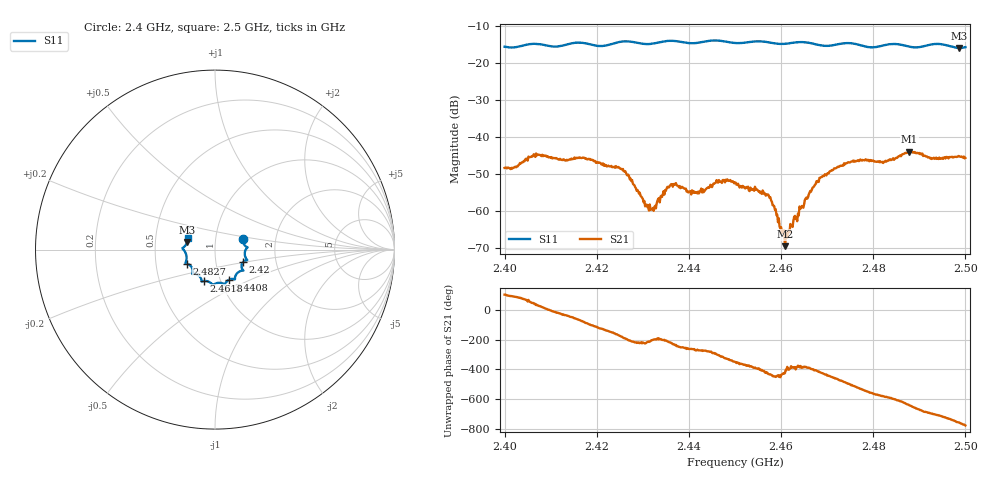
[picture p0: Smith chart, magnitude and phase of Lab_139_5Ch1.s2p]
# Hz S RI R 50
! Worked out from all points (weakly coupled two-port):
!   601 points, 2.4 GHz to 2.5 GHz, reference 50 ohm
!   highest |S21| = -44.02 dB at 2.4878 GHz (marker M1); lowest = -69.6 dB at 2.4608 GHz (marker M2)
!   lowest |S11| = -15.9 dB at 2.4987 GHz (marker M3), VSWR 1.38, Z = 36.5 + j3.23 ohm
!   |S11| at or under -10 dB: start of sweep to end of sweep
!   S12 and S22 are empty: the file has one direction only
!   S11 on the Smith chart (normalised r, x): 2.4 GHz: 1.35, +0.17; 2.42 GHz: 1.36, -0.19; 2.4408 GHz: 1.10, -0.38; 2.4618 GHz: 0.83, -0.30; 2.4827 GHz: 0.72, -0.12; 2.5 GHz: 0.73, +0.10
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2.4e9  0.1546 0.061  -0.000922 0.00368  0 0  0 0
2.406833e9  0.1815 0.0124  0.00495 0.0033  0 0  0 0
2.416667e9  0.1789 -0.0586  0.0014 -0.00496  0 0  0 0
2.42e9  0.1565 -0.069  -0.00181 -0.0042  0 0  0 0
2.425833e9  0.1578 -0.1165  -0.00339 0.00048  0 0  0 0
2.4315e9  0.1201 -0.1353  -0.00103 0.00064  0 0  0 0
2.433333e9  0.1117 -0.1529  -0.00137 0.000441  0 0  0 0
2.436667e9  0.1104 -0.166  -0.00148 0.00175  0 0  0 0
2.440833e9  0.0776 -0.1684  -0.000209 0.00183  0 0  0 0
2.446333e9  0.0517 -0.1947  0.00133 0.00199  0 0  0 0
2.45e9  0.0267 -0.1848  0.00237 0.000425  0 0  0 0
2.457333e9  -0.019 -0.1894  0.000484 -0.00152  0 0  0 0
2.460833e9  -0.0514 -0.1746  0.000134 -0.000301  0 0  0 0
2.461833e9  -0.0613 -0.175  0.0004 -0.000315  0 0  0 0
2.466667e9  -0.0758 -0.1683  0.00151 -0.0012  0 0  0 0
2.468833e9  -0.0851 -0.1498  0.0012 -0.00258  0 0  0 0
2.474167e9  -0.1264 -0.1364  -0.00295 -0.00323  0 0  0 0
2.482667e9  -0.1577 -0.0777  -0.00324 0.00345  0 0  0 0
2.483333e9  -0.1616 -0.0768  -0.00304 0.00365  0 0  0 0
2.487833e9  -0.1585 -0.0515  0.0014 0.00614  0 0  0 0
2.498667e9  -0.1542 0.0432  0.00425 -0.00342  0 0  0 0
2.5e9  -0.1512 0.0633  0.00266 -0.00443  0 0  0 0
